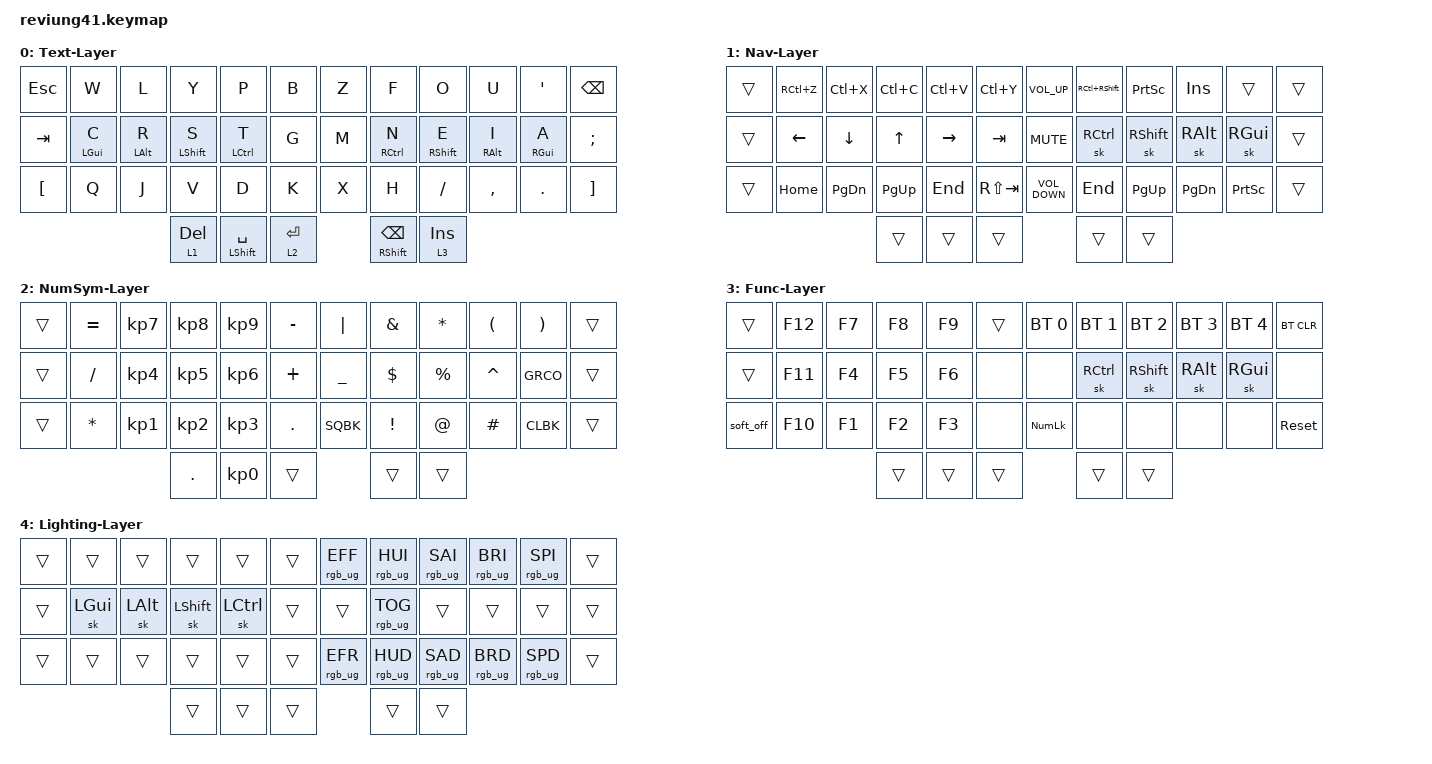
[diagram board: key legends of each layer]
/*
 * Copyright (c) 2020 The ZMK Contributors
 *
 * SPDX-License-Identifier: MIT
 */

#include <behaviors.dtsi>
#include <dt-bindings/zmk/bt.h>
#include <dt-bindings/zmk/keys.h>
#include <dt-bindings/zmk/rgb.h>

&soft_off {
    hold-time-ms = <2000>; // Only turn off it the key is held for 2 seconds or longer.
};

/ {
    combos {
        compatible = "zmk,combos";

        QFTILDE {
            bindings = <&kp GRAVE>;
            key-positions = <1 3>;
        };

        TAB_BACK {
            bindings = <&kp LS(TAB)>;
            key-positions = <25 26>;
        };

        CAPSWORD {
            bindings = <&caps_word>;
            key-positions = <37 39>;
        };

        BKSLH {
            bindings = <&kp BACKSLASH>;
            key-positions = <10 9>;
        };
    };

    macros {
        SQBK: SQBK {
            compatible = "zmk,behavior-macro";
            #binding-cells = <0>;
            bindings = <&kp LEFT_BRACKET &kp RIGHT_BRACKET &kp LEFT>;
            label = "SQBK";
        };

        CLBK: CLBK {
            compatible = "zmk,behavior-macro";
            #binding-cells = <0>;
            bindings = <&kp LEFT_BRACE &kp RIGHT_BRACE &kp LEFT>;
            label = "CLBK";
        };

        GRCO: GRCO {
            compatible = "zmk,behavior-macro";
            #binding-cells = <0>;
            bindings = <&kp LEFT_PARENTHESIS &kp DOUBLE_QUOTES &kp GRAVE>;
            label = "GRCO";
        };
    };

    behaviors {
        hrl: hrl {
            compatible = "zmk,behavior-hold-tap";
            label = "HRL";
            bindings = <&kp>, <&kp>;

            #binding-cells = <2>;
            tapping-term-ms = <300>;
            hold-trigger-key-positions = <6 7 8 9 10 11 23 22 21 20 18 19 30 31 32 33 34 35 39 36 37 38 40>;
            flavor = "balanced";
            quick-tap-ms = <175>;
            require-prior-idle-ms = <75>;
            hold-trigger-on-release;
        };

        hrr: hrr {
            compatible = "zmk,behavior-hold-tap";
            label = "HRR";
            bindings = <&kp>, <&kp>;

            #binding-cells = <2>;
            tapping-term-ms = <300>;
            quick-tap-ms = <175>;
            require-prior-idle-ms = <75>;
            flavor = "balanced";
            hold-trigger-on-release;
            hold-trigger-key-positions = <4 5 12 13 14 15 16 17 24 25 26 27 28 29 3 2 0 1 40 39 38 37 36>;
        };
    };

    keymap {
        compatible = "zmk,keymap";

        Text-Layer {
            // -------------------------------------------------------------------------------------
            // |  TAB |  Q  |  W  |  E  |  R  |  T  |   |  Y  |  U   |  I  |  O  |  P  |   BKSP    |
            // | CTRL |  A  |  S  |  D  |  F  |  G  |   |  H  |  J   |  K  |  L  |  ;  |    '      |
            // | SHFT |  Z  |  X  |  C  |  V  |  B  |   |  N  |  M   |  ,  |  .  |  /  | SHFT(RET) |
            //                         | ALT | LWR | SPC | RSE  | ALT |

            bindings = <
&kp ESCAPE        &kp W            &kp L        &kp Y         &kp P             &kp B               &kp Z  &kp F                 &kp O         &kp U        &kp SQT      &kp BSPC
&kp TAB           &hrl LEFT_GUI C  &hrl LALT R  &hrl LSHFT S  &hrl LCTRL T      &kp G               &kp M  &hrr RCTRL N          &hrr RSHFT E  &hrr RALT I  &hrr RGUI A  &kp SEMICOLON
&kp LEFT_BRACKET  &kp Q            &kp J        &kp V         &kp D             &kp K               &kp X  &kp H                 &kp SLASH     &kp COMMA    &kp PERIOD   &kp RIGHT_BRACKET
                                                &lt 1 DELETE  &hrl LSHFT SPACE         &lt 2 ENTER         &hrr RSHFT BACKSPACE  &lt 3 INS
            >;
        };

        Nav-Layer {
            // ------------------------------------------------------------------------------------
            // |    |  !  |  @  |  #  |  $  |  %  |   |  ^  |  &  |  *  |  (  |  )  |      DEL    |
            // |    |  _  |  +  |  {  |  }  | "|" |   | LFT | DWN |  UP | RGT |  `  |       ~     |
            // |    | ESC | GUI | ALT | CAPS|  "  |   | HOME| END | PGUP| PGDN| PRSC| SHFT(SPACE) |
            //                       |     |     | RET | ADJ |     |

            bindings = <
&trans  &kp RC(Z)  &kp LC(X)  &kp LC(C)  &kp LC(V)  &kp LC(Y)            &kp C_VOLUME_UP    &kp RC(RSHFT)  &kp PRINTSCREEN  &kp INSERT  &trans     &trans
&trans  &kp LEFT   &kp DOWN   &kp UP     &kp RIGHT  &kp TAB              &kp K_MUTE         &sk RCTRL      &sk RSHFT        &sk RALT    &sk RGUI   &trans
&trans  &kp HOME   &kp PG_DN  &kp PG_UP  &kp END    &kp RS(TAB)          &kp C_VOLUME_DOWN  &kp END        &kp PG_UP        &kp PG_DN   &kp PSCRN  &trans
                              &trans     &trans                  &trans                     &trans         &trans
            >;
        };

        NumSym-Layer {
            // ----------------------------------------------------------------------------
            // |    |  1  |  2  |  3  |  4  |  5  |   |  6  |  7  |  8  |  9  |  0  | DEL |
            // |    |  -  |  =  |  [  |  ]  |  \  |   | F1  | F2  | F3  | F4  | F5  | F6  |
            // |    | ESC | GUI | ALT | CAPS|  "  |   | F7  | F8  | F9  | F10 | F11 | F12 |
            //                       |     | ADJ | BKSP |    |     |

            bindings = <
&trans  &kp EQUAL     &kp KP_NUMBER_7  &kp KP_NUMBER_8  &kp KP_NUMBER_9  &kp MINUS           &kp PIPE        &kp AMPS  &kp ASTRK  &kp LPAR   &kp RPAR  &trans
&trans  &kp SLASH     &kp KP_NUMBER_4  &kp KP_NUMBER_5  &kp KP_NUMBER_6  &kp PLUS            &kp UNDERSCORE  &kp DLLR  &kp PRCNT  &kp CARET  &GRCO     &trans
&trans  &kp ASTERISK  &kp KP_NUMBER_1  &kp KP_NUMBER_2  &kp KP_NUMBER_3  &kp PERIOD          &SQBK           &kp EXCL  &kp AT     &kp HASH   &CLBK     &trans
                                       &kp DOT          &kp KP_NUMBER_0              &trans                  &trans    &trans
            >;
        };

        Func-Layer {
            // -----------------------------------------------------------------------------------------
            // | RGB BRI+ | RGB SAT+ | RGB HUE+ | RGB ANI+ |    | RGB TOG |   |  BT1  | BT2 | BT3 | BT4 | BT5 | BT CLR |
            // | RGB BRI- | RGB SAT- | RGB HUE- | RGB ANI- |    |         |   |       |     |     |     |     |        |
            // |          |          |          |          |    |         |   | RESET |     |     |     |     |        |
            //                                              |     |     |     |     |     |

            bindings = <
&trans     &kp F12  &kp F7  &kp F8  &kp F9  &trans          &bt BT_SEL 0    &bt BT_SEL 1  &bt BT_SEL 2  &bt BT_SEL 3  &bt BT_SEL 4  &bt BT_CLR
&trans     &kp F11  &kp F4  &kp F5  &kp F6  &none           &none           &sk RCTRL     &sk RSHFT     &sk RALT      &sk RGUI      &none
&soft_off  &kp F10  &kp F1  &kp F2  &kp F3  &none           &kp KP_NUMLOCK  &none         &none         &none         &none         &sys_reset
                            &trans  &trans          &trans                  &trans        &trans
            >;
        };

        Lighting-Layer {
            bindings = <
&trans  &trans    &trans    &trans     &trans     &trans          &rgb_ug RGB_EFF  &rgb_ug RGB_HUI  &rgb_ug RGB_SAI  &rgb_ug RGB_BRI  &rgb_ug RGB_SPI  &trans
&trans  &sk LGUI  &sk LALT  &sk LSHFT  &sk LCTRL  &trans          &trans           &rgb_ug RGB_TOG  &trans           &trans           &trans           &trans
&trans  &trans    &trans    &trans     &trans     &trans          &rgb_ug RGB_EFR  &rgb_ug RGB_HUD  &rgb_ug RGB_SAD  &rgb_ug RGB_BRD  &rgb_ug RGB_SPD  &trans
                            &trans     &trans             &trans                   &trans           &trans
            >;
        };
    };

    conditional_layers {
        compatible = "zmk,conditional-layers";

        Lighting {
            if-layers = <1 3>;
            then-layer = <4>;
        };
    };
};
